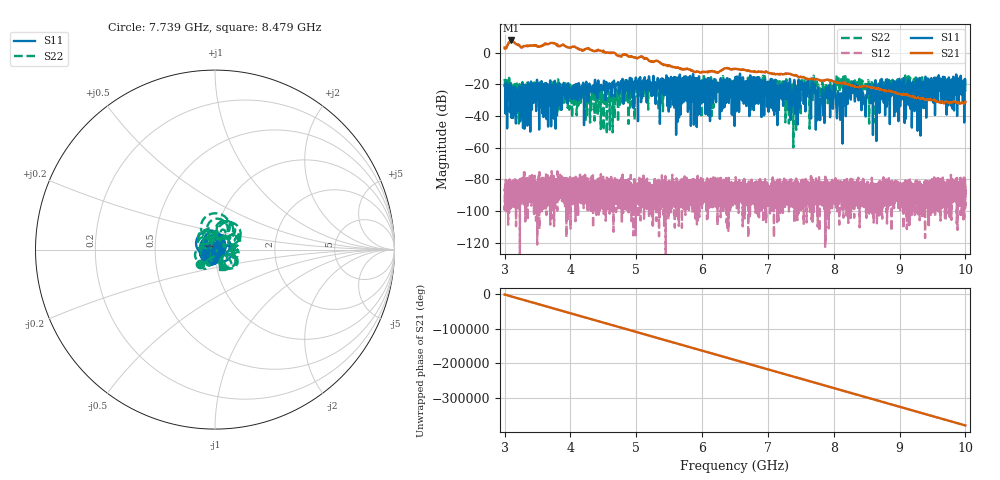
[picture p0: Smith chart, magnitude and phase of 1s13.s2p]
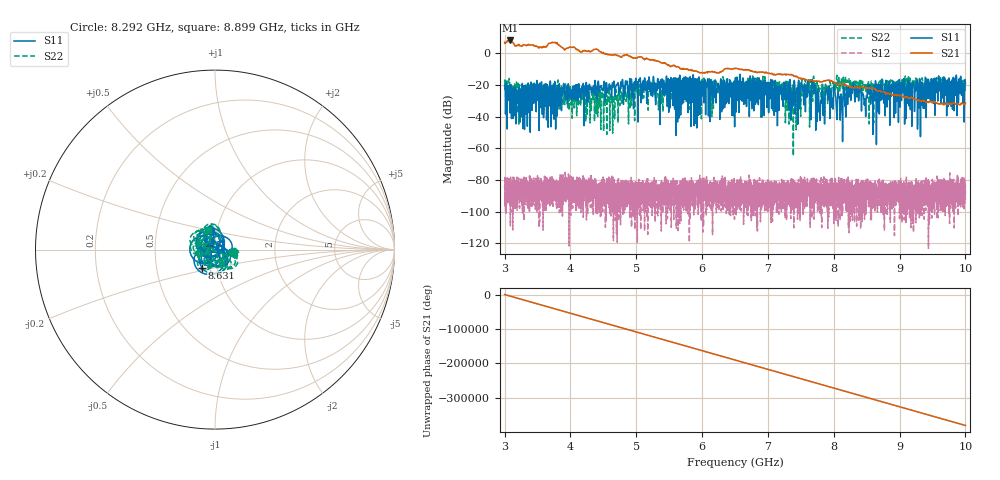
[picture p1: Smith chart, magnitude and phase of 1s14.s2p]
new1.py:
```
import numpy as np
import matplotlib.pyplot as plt

def read_s2p(file_path):
    frequency = []
    S21_mag_linear, S21_phase_rad = [], []
    
    with open(file_path, 'r') as file:
        for line in file:
            if not line.startswith('#') and not line.startswith('!'):
                data = line.split()
                frequency.append(float(data[0]))  # Frequency in Hz
                S21_mag_linear.append(10 ** (float(data[3]) / 20))  # S21 magnitude in dB  10 ** (float(data[3]) / 20)
                S21_phase_rad.append(float(data[4]))  # S21 phase in degrees
    #print(S21_phase)
    return np.array(frequency), np.array(S21_mag_linear), np.array(S21_phase_rad)
import numpy as np





def plot_power_delay_profile(file_paths):
    
    accumulated_S21_mag = 0
    
    accumulated_S21_phase = 0
    count = 0

    for file_path in file_paths:
        frequency, S21_mag_linear, S21_phase_rad = read_s2p(file_path)
        
        accumulated_S21_mag += S21_mag_linear
        accumulated_S21_phase += S21_phase_rad
        count += 1
    
    
    #print()
    avg_S21_mag = accumulated_S21_mag // 4
    avg_S21_phase = accumulated_S21_phase //4

    S21_avg_complex= avg_S21_mag * np.exp(1j * np.radians(avg_S21_phase))
    
    
    time_signal = np.fft.ifft(S21_avg_complex)
    time_signal_power = np.abs(time_signal) ** 2

    frequency_resolution = frequency[1] - frequency[0]
    time_step = 1 / ((len(frequency)-1) * frequency_resolution)  # in seconds
    time_step_ns = time_step * 1e9  # Convert time step to nanoseconds
    time_array_ns = np.arange(len(time_signal)) * time_step_ns

    plt.figure(figsize=(8, 4))
    plt.plot(time_array_ns, 10 * np.log10(time_signal_power))
    plt.title('Average Power Delay Profile')
    plt.xlabel('Time Delay (ns)')
    plt.ylabel('Power (dB)')
    plt.grid(True)
    plt.show()

# List of S2P file paths
file_paths = ['/Users/user/Desktop/Advanced_Measurement/uwb 2/1s13.s2p',
               '/Users/user/Desktop/Advanced_Measurement/uwb 2/1s14.s2p',
                 '/Users/user/Desktop/Advanced_Measurement/uwb 2/1s23.s2p',
                   '/Users/user/Desktop/Advanced_Measurement/uwb 2/1s24.s2p']

plot_power_delay_profile(file_paths)
```
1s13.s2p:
!Agilent Technologies,E8363B,MY43030572,A.06.04.32
!Agilent E8363B: A.06.04.32
!Date: Monday, June 06, 2011 14:26:57
!Correction: S11(Full 2 Port(1,2)) S21(Full 2 Port(1,2)) S12(Full 2 Port(1,2)) S22(Full 2 Port(1,2))
!S2P File: Measurements: S11, S21, S12, S22:
# Hz S  dB  R 50
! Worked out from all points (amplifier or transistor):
!   6401 points, 3 GHz to 10 GHz, reference 50 ohm
!   highest |S21| = 7.7 dB at 3.095 GHz (marker M1)
!   |S21| within 3 dB of that: 3.587 GHz to 3.793 GHz (206 MHz wide, 5.58 % of centre)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
!   unconditionally stable (mu >= 1): start of sweep to end of sweep
!   at 4.166 GHz: K = 17896.16, MAG = 1.9 dB, |S12| = -93.0 dB
!   at 6.5 GHz: K = 39505.78, MAG = -10.1 dB, |S12| = -88.0 dB
!   at 10 GHz: K = 1439123.65, MAG = -30.8 dB, |S12| = -98.4 dB
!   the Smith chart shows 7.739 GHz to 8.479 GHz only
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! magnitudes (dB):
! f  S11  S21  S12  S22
! 3 GHz  -20.8  3.3  -96.1  -16.5
! 3.095 GHz  -20.4  7.7  -92.3  -19.2
! 4.123 GHz  -20.6  2.5  -89.0  -31.7
! 6.5 GHz  -19.0  -10.2  -88.0  -21.8
! 7.691 GHz  -23.9  -16.7  -85.3  -14.9
! 7.761 GHz  -22.2  -16.9  -83.9  -20.4
! 7.904 GHz  -27.0  -17.1  -88.8  -27.5
! 8.108 GHz  -26.2  -19.2  -87.8  -21.0
! 8.275 GHz  -22.7  -20.4  -86.1  -19.4
! 8.455 GHz  -27.4  -21.1  -91.4  -21.3
! 10 GHz  -19.2  -30.9  -98.4  -19.3
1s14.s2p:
!Agilent Technologies,E8363B,MY43030572,A.06.04.32
!Agilent E8363B: A.06.04.32
!Date: Monday, June 06, 2011 14:26:07
!Correction: S11(Full 2 Port(1,2)) S21(Full 2 Port(1,2)) S12(Full 2 Port(1,2)) S22(Full 2 Port(1,2))
!S2P File: Measurements: S11, S21, S12, S22:
# Hz S  dB  R 50
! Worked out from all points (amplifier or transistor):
!   6401 points, 3 GHz to 10 GHz, reference 50 ohm
!   highest |S21| = 8.1 dB at 3.08 GHz (marker M1)
!   |S21| within 3 dB of that: 3.652 GHz to 3.827 GHz (174.1 MHz wide, 4.66 % of centre)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
!   unconditionally stable (mu >= 1): start of sweep to end of sweep
!   at 4.166 GHz: K = 7294.70, MAG = 1.0 dB, |S12| = -84.3 dB
!   at 6.5 GHz: K = 25172.25, MAG = -9.4 dB, |S12| = -84.8 dB
!   at 10 GHz: K = 733268.65, MAG = -31.2 dB, |S12| = -92.2 dB
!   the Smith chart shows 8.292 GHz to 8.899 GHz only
!   S11 on the Smith chart (normalised r, x): 8.292 GHz: 0.92, +0.20; 8.631 GHz: 0.85, -0.17; 8.899 GHz: 1.20, -0.03
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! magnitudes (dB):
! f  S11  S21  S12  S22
! 3 GHz  -20.8  7.0  -83.6  -16.5
! 3.08 GHz  -29.7  8.1  -82.6  -22.9
! 4.123 GHz  -20.6  2.0  -90.8  -31.7
! 5.13 GHz  -15.9  -3.9  -95.8  -18.7
! 6.5 GHz  -19.0  -9.5  -84.8  -21.8
! 7.353 GHz  -27.4  -13.5  -82.9  -21.2
! 8.108 GHz  -26.2  -19.4  -83.3  -21.0
! 8.292 GHz  -19.1  -21.6  -89.9  -19.7
! 8.631 GHz  -18.1  -22.7  -80.7  -25.9
! 8.899 GHz  -20.6  -26.5  -83.0  -18.8
! 10 GHz  -19.2  -31.3  -92.2  -19.3
